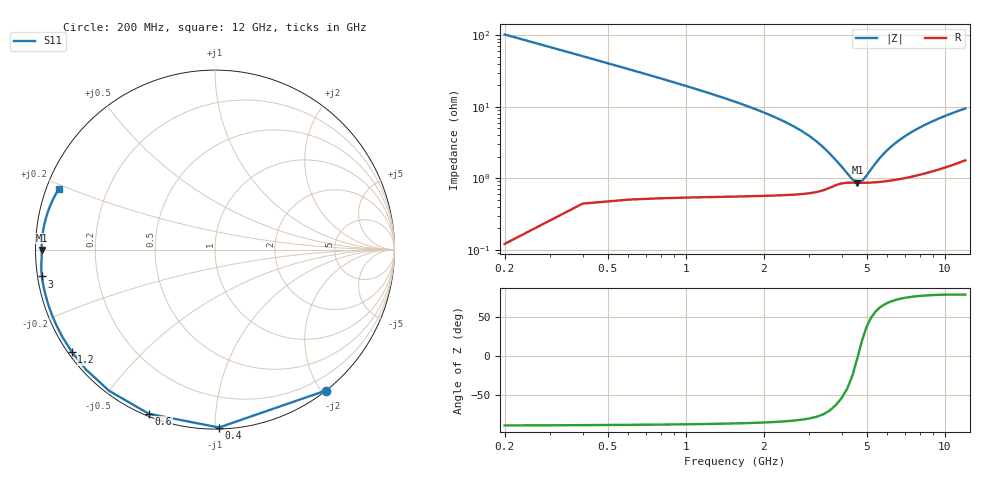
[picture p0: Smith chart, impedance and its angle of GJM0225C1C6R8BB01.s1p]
! GJM0225C1C6R8BB01.s1p
! Touchstone file exported from HFSS
!  Generated:
!  Design:  GJM0225C1C6R8BB01
!  Project:  GJM0225C1C6R8BB01
!  Setup:
!  Solution:  Sweep 0.2-12GHz / step 200 MHz
# GHz S MA R 50.000000
! Terminal data exported
! Port[1] = Port_1
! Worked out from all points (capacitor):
!   60 points, 200 MHz to 12 GHz, reference 50 ohm
!   read as one part to ground: C = 7.72 pF near 200 MHz
!   lowest |Z| = 865 mohm at 4.6 GHz (marker M1)
!   series resonance near 4.62 GHz, so ESL is about 150 pH
!   S11 on the Smith chart (normalised r, x): 200 MHz: 0.00, -2.06; 400 MHz: 0.01, -1.02; 600 MHz: 0.01, -0.68; 1.2 GHz: 0.01, -0.32; 3 GHz: 0.01, -0.08; 12 GHz: 0.04, +0.19
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0.2  0.9991 -51.8
0.4  0.9914 -88.7
0.6  0.9863 -111.9
0.8  0.9834 -126.9
1  0.9816 -137.1
1.2  0.9805 -144.5
1.4  0.9797 -150.1
1.6  0.9791 -154.5
1.8  0.9786 -158.1
2  0.9782 -161.1
2.2  0.9778 -163.7
2.4  0.9774 -165.9
2.6  0.977 -167.8
2.8  0.9765 -169.6
3  0.9758 -171.2
3.2  0.9748 -172.7
3.6  0.971 -175.3
3.8  0.9685 -176.3
4.6  0.966 -179.9
4.8  0.9661 179.2
5.4  0.9655 176.9
6.2  0.9636 174.0
6.8  0.9616 172.1
7.6  0.9585 169.7
8.4  0.9548 167.5
9.2  0.9507 165.4
10.6  0.9426 162.0
12  0.9334 158.9
